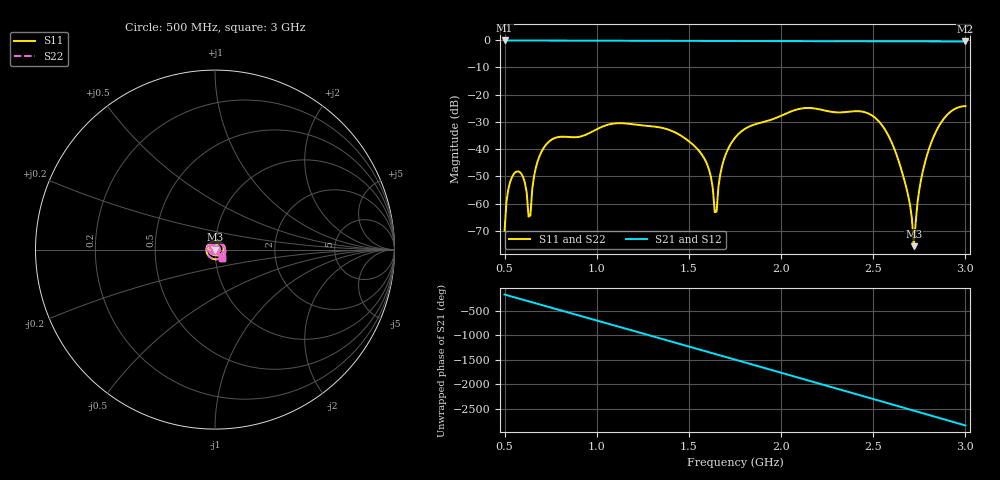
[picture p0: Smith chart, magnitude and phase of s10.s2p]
!freq-unit  param-type  data-format  keyword  impedance-ohms
# GHZ  S  RI  R  50
!Freq  ReS11  ImS11  ReS21  ImS21  ReS12  ImS12  ReS22  ImS22
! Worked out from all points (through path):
!   251 points, 500 MHz to 3 GHz, reference 50 ohm
!   highest |S21| = -0.16 dB at 500 MHz (marker M1); lowest = -0.5 dB at 3 GHz (marker M2)
!   group delay of S21, straight-line fit = 2.97 ns
!   lowest |S11| = -75.6 dB at 2.72 GHz (marker M3), VSWR 1.00, Z = 50 + j0.0124 ohm
!   |S11| at or under -10 dB: start of sweep to end of sweep
!   |S22| runs from -75.6 to -24.2 dB; largest |S21 - S12| = 0
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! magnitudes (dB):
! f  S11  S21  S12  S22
! 500 MHz  -69.9  -0.2  -0.2  -69.9
! 520 MHz  -54.8  -0.2  -0.2  -54.8
! 550 MHz  -49.1  -0.2  -0.2  -49.1
! 600 MHz  -50.2  -0.2  -0.2  -50.2
! 630 MHz  -64.8  -0.2  -0.2  -64.8
! 670 MHz  -46.6  -0.2  -0.2  -46.6
! 710 MHz  -39.8  -0.2  -0.2  -39.8
! 920 MHz  -35.2  -0.2  -0.2  -35.2
! 1.34 GHz  -32.0  -0.3  -0.3  -32.0
! 1.57 GHz  -42.0  -0.3  -0.3  -42.0
! 1.62 GHz  -50.4  -0.3  -0.3  -50.4
! 1.64 GHz  -63.1  -0.3  -0.3  -63.1
! 1.68 GHz  -46.1  -0.4  -0.4  -46.1
! 1.75 GHz  -35.9  -0.4  -0.4  -35.9
! 2.17 GHz  -25.0  -0.4  -0.4  -25.0
! 2.47 GHz  -26.8  -0.5  -0.5  -26.8
! 2.59 GHz  -36.1  -0.5  -0.5  -36.1
! 2.69 GHz  -57.2  -0.5  -0.5  -57.2
! 2.72 GHz  -75.6  -0.5  -0.5  -75.6
! 2.75 GHz  -54.8  -0.5  -0.5  -54.8
! 2.81 GHz  -38.5  -0.5  -0.5  -38.5
! 3 GHz  -24.2  -0.5  -0.5  -24.2
